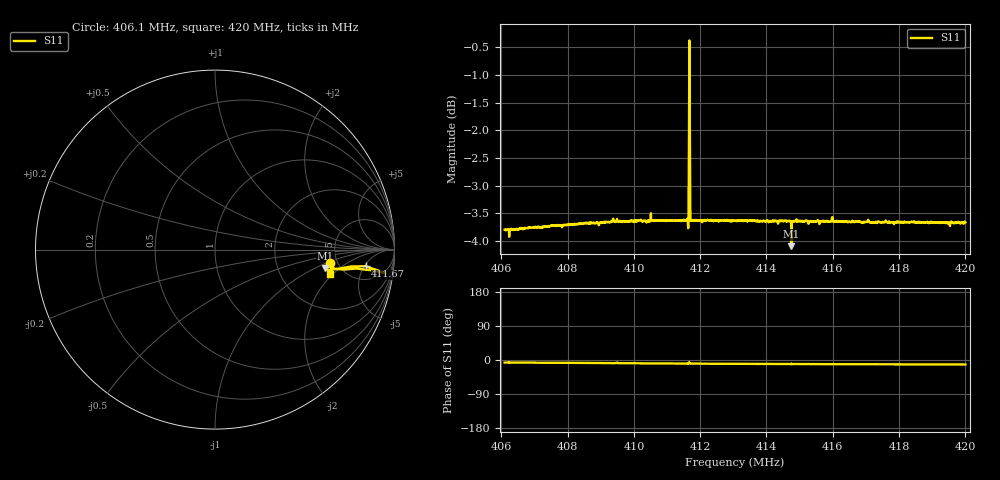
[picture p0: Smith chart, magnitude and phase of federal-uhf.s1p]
! Calibrated averaged scanner-service zoom
# Hz S RI R 50
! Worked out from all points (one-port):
!   2001 points, 406.1 MHz to 420 MHz, reference 50 ohm
!   lowest |S11| = -4.1 dB at 414.75 MHz (marker M1), VSWR 4.32, Z = 192 - j65.6 ohm
!   |S11| at or under -10 dB: nowhere
!   S11 on the Smith chart (normalised r, x): 406.1 MHz: 4.35, -1.12; 411.67 MHz: 8.36, -5.39; 420 MHz: 3.90, -1.84
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4.061e8  0.6417 -0.0749
4.078375e8  0.6463 -0.0842
4.088939e8  0.6497 -0.0907
4.093874e8  0.6523 -0.0973
4.09443e8  0.6497 -0.0956
4.095264e8  0.6501 -0.0958
4.09575e8  0.65 -0.0957
4.113125e8  0.6496 -0.1068
4.115766e8  0.6497 -0.1077
4.115905e8  0.6501 -0.1083
4.115974e8  0.6503 -0.1082
4.116114e8  0.6518 -0.1081
4.116183e8  0.6525 -0.1068
4.116322e8  0.6457 -0.1032
4.11667e8  0.8394 -0.0924
4.117226e8  0.6491 -0.109
4.117295e8  0.6503 -0.1091
4.117434e8  0.6496 -0.1086
4.117573e8  0.6495 -0.1089
4.117642e8  0.6495 -0.109
4.117782e8  0.6491 -0.1094
4.1305e8  0.6481 -0.1156
4.147528e8  0.6155 -0.104
4.147875e8  0.6462 -0.1212
4.159412e8  0.6451 -0.1257
4.16525e8  0.6444 -0.127
4.182625e8  0.6431 -0.1317
4.2e8  0.642 -0.1345
